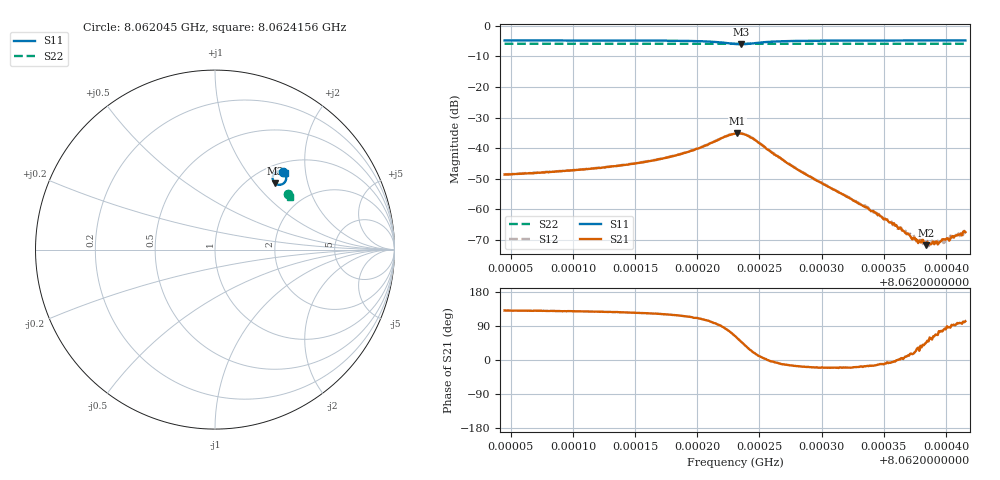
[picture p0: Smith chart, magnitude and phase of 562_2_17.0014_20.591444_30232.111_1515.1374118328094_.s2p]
#  HZ  S  RI  R  50.00
! Rohde & Schwarz Vector Network Analyzer
! Rohde-Schwarz,ZNB20-2Port,1311601062101988,3.16
! Created: UTC 3/20/2024, 11:17:15 PM
! freq[Hz]  re:S11  im:S11  re:S21  im:S21  re:S12  im:S12  re:S22  im:S22
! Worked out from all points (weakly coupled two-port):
!   401 points, 8.062045 GHz to 8.0624156 GHz, reference 50 ohm
!   highest |S21| = -35.14 dB at 8.0622322 GHz (marker M1); lowest = -71.6 dB at 8.0623841 GHz (marker M2)
!   lowest |S11| = -6.0 dB at 8.0622349 GHz (marker M3), VSWR 2.99, Z = 64.8 + j63.8 ohm
!   |S11| at or under -10 dB: nowhere
!   |S22| runs from -5.9 to -5.9 dB; largest |S21 - S12| = 0.0011
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8.062045e9  0.38 0.4329  -0.00242 0.00282  -0.00226 0.00297  0.4041 0.3089
8.06210707e9  0.3857 0.427  -0.00277 0.00352  -0.0026 0.0037  0.4066 0.3056
8.06214321e9  0.3897 0.4216  -0.00313 0.00438  -0.00289 0.0046  0.4079 0.3037
8.06216915e9  0.3933 0.4151  -0.0035 0.00564  -0.00316 0.00584  0.4088 0.302
8.0621951e9  0.3968 0.4017  -0.00356 0.00831  -0.00308 0.00858  0.4096 0.3002
8.06221641e9  0.3891 0.3759  -0.000849 0.0135  -0.000145 0.0138  0.4097 0.2982
8.06223031e9  0.3516 0.3616  0.00773 0.0155  0.00872 0.0152  0.4082 0.2975
8.06223216e9  0.3443 0.3639  0.00937 0.0148  0.0101 0.0144  0.408 0.2975
8.06223494e9  0.3345 0.37  0.0114 0.0131  0.0122 0.0127  0.4078 0.2978
8.06224606e9  0.3223 0.4083  0.013 0.00431  0.0135 0.00355  0.4082 0.2992
8.062272e9  0.3541 0.4363  0.00563 -0.00127  0.00564 -0.00159  0.4108 0.2987
8.06229238e9  0.3669 0.436  0.0031 -0.00109  0.00306 -0.00128  0.4121 0.2975
8.06233593e9  0.3789 0.4315  0.00104 -0.000306  0.00101 -0.00036  0.4139 0.2951
8.06235446e9  0.3819 0.4299  0.000608 -7.44e-05  0.000642 -0.000126  0.4148 0.294
8.06236744e9  0.3836 0.4287  0.000406 6.68e-05  0.000447 2.92e-05  0.4152 0.2933
8.06237207e9  0.3841 0.4284  0.000329 9.98e-05  0.000373 7.93e-05  0.4153 0.2931
8.0623767e9  0.3846 0.4281  0.00028 0.000163  0.000263 0.000116  0.4157 0.2928
8.06238411e9  0.3855 0.4274  0.000183 0.00019  0.000227 0.000195  0.4159 0.2925
8.06239245e9  0.3863 0.4268  0.000121 0.000275  0.000123 0.000228  0.4162 0.292
8.06239986e9  0.3871 0.4263  5.23e-05 0.000318  5.16e-05 0.000316  0.4162 0.2914
8.06240542e9  0.3877 0.4259  -1.13e-05 0.000367  -1.43e-05 0.000348  0.4167 0.2913
8.06241562e9  0.3886 0.4251  -9.13e-05 0.000415  -5.52e-05 0.000413  0.4169 0.2907
